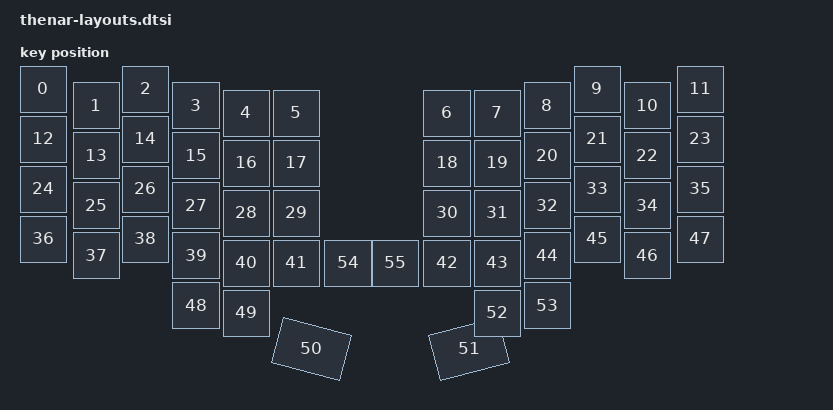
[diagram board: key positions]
#include <physical_layouts.dtsi>

// Physical key positions for ZMK Studio's keymap visualizer. Coordinates
// are in centiunits (100 = 1u). TODO: these were ported from the upstream
// corax-layouts.dtsi and adjusted by adding two outer-column "num row"
// positions (one per half) to match thenar's 4-key outer column. Verify
// against the actual PCB outline (thenar/ergogen/config.yaml) and refine
// once the keyboard is built and visualized.
//
// Positions enumerated in the order the keymap reads them: visually
// left-to-right, top-to-bottom, scanning both halves at each row.

/ {
    physical_layout0: physical_layout_0 {
        compatible = "zmk,physical-layout";
        display-name = "Thenar";

        kscan = <&kscan0>;
        transform = <&default_transform>;

        keys
            //                            w   h    x    y     rot    rx    ry
            // Num row (12 keys, outer column included on each half)
            = <&key_physical_attrs 100 100  200    0       0     0     0>
            , <&key_physical_attrs 100 100  306   33       0     0     0>
            , <&key_physical_attrs 100 100  406    0       0     0     0>
            , <&key_physical_attrs 100 100  506   33       0     0     0>
            , <&key_physical_attrs 100 100  606   48       0     0     0>
            , <&key_physical_attrs 100 100  706   48       0     0     0>
            , <&key_physical_attrs 100 100 1008   48       0     0     0>
            , <&key_physical_attrs 100 100 1108   48       0     0     0>
            , <&key_physical_attrs 100 100 1208   33       0     0     0>
            , <&key_physical_attrs 100 100 1308    0       0     0     0>
            , <&key_physical_attrs 100 100 1408   33       0     0     0>
            , <&key_physical_attrs 100 100 1514    0       0     0     0>
            // Top row (12 keys)
            , <&key_physical_attrs 100 100  200  100       0     0     0>
            , <&key_physical_attrs 100 100  306  133       0     0     0>
            , <&key_physical_attrs 100 100  406  100       0     0     0>
            , <&key_physical_attrs 100 100  506  133       0     0     0>
            , <&key_physical_attrs 100 100  606  148       0     0     0>
            , <&key_physical_attrs 100 100  706  148       0     0     0>
            , <&key_physical_attrs 100 100 1008  148       0     0     0>
            , <&key_physical_attrs 100 100 1108  148       0     0     0>
            , <&key_physical_attrs 100 100 1208  133       0     0     0>
            , <&key_physical_attrs 100 100 1308  100       0     0     0>
            , <&key_physical_attrs 100 100 1408  133       0     0     0>
            , <&key_physical_attrs 100 100 1514  100       0     0     0>
            // Home row (12 keys)
            , <&key_physical_attrs 100 100  200  200       0     0     0>
            , <&key_physical_attrs 100 100  306  233       0     0     0>
            , <&key_physical_attrs 100 100  406  200       0     0     0>
            , <&key_physical_attrs 100 100  506  233       0     0     0>
            , <&key_physical_attrs 100 100  606  248       0     0     0>
            , <&key_physical_attrs 100 100  706  248       0     0     0>
            , <&key_physical_attrs 100 100 1008  248       0     0     0>
            , <&key_physical_attrs 100 100 1108  248       0     0     0>
            , <&key_physical_attrs 100 100 1208  233       0     0     0>
            , <&key_physical_attrs 100 100 1308  200       0     0     0>
            , <&key_physical_attrs 100 100 1408  233       0     0     0>
            , <&key_physical_attrs 100 100 1514  200       0     0     0>
            // Bottom row (12 keys)
            , <&key_physical_attrs 100 100  200  300       0     0     0>
            , <&key_physical_attrs 100 100  306  333       0     0     0>
            , <&key_physical_attrs 100 100  406  300       0     0     0>
            , <&key_physical_attrs 100 100  506  333       0     0     0>
            , <&key_physical_attrs 100 100  606  348       0     0     0>
            , <&key_physical_attrs 100 100  706  348       0     0     0>
            , <&key_physical_attrs 100 100 1008  348       0     0     0>
            , <&key_physical_attrs 100 100 1108  348       0     0     0>
            , <&key_physical_attrs 100 100 1208  333       0     0     0>
            , <&key_physical_attrs 100 100 1308  300       0     0     0>
            , <&key_physical_attrs 100 100 1408  333       0     0     0>
            , <&key_physical_attrs 100 100 1514  300       0     0     0>
            // Mod row + thumb cluster (6 keys total: 2 mod + 2 thumb each side
            // partitioned as left.middle, left.index, left.thumb_layer,
            // left.thumb_space, right.thumb_space mirror, right.thumb_layer mirror)
            // Only 2 mod keys per half (middle + index columns) and 2 thumb
            // keys per half - though thumbs are shared across both halves
            // physically; here we list 6 positions (2 mod left, 2 thumb pairs,
            // 2 mod right) to match the matrix transform's RC(4,3..8).
            , <&key_physical_attrs 100 100  506  433       0     0     0>
            , <&key_physical_attrs 100 100  606  448       0     0     0>
            , <&key_physical_attrs 150 100  712  520    1500   787   570>
            , <&key_physical_attrs 150 100 1027  520 (-1500)  1102   570>
            , <&key_physical_attrs 100 100 1108  448       0     0     0>
            , <&key_physical_attrs 100 100 1208  433       0     0     0>
            // Encoder push switches (left, right) - next to the inner
            // bottom corner where the scrollwheel mounts.
            , <&key_physical_attrs 100 100  810  348       0     0     0>
            , <&key_physical_attrs 100 100  905  348       0     0     0>
            ;
    };
};
